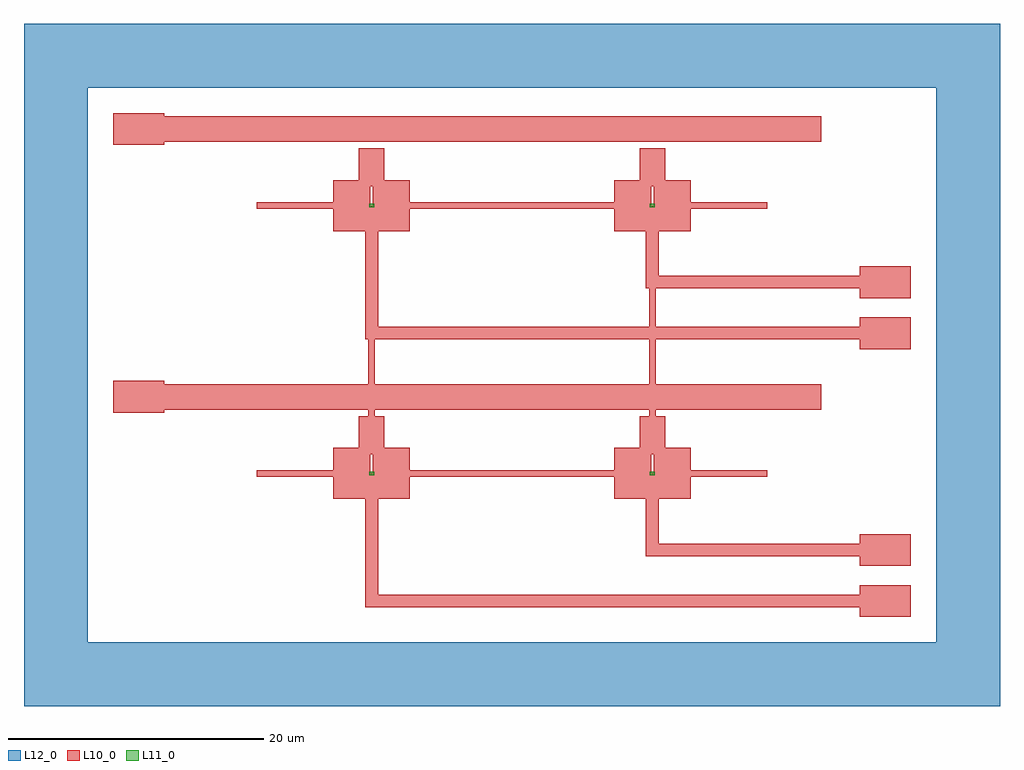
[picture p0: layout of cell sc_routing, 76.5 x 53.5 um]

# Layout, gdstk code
import gdstk
lib = gdstk.Library(unit=1e-6, precision=1e-09)
def R(c, l, rs):  # rectangles x0, y0, x1, y1
    for r in rs: c.add(gdstk.rectangle(r[:2], r[2:], *l))
L10_0 = (10, 0)
L11_0 = (11, 0)
L12_0 = (12, 0)

sc_routing = lib.new_cell('sc_routing')
R(sc_routing, L10_0, [(27.25,-21.75,31.25,-19.25), (27.25,-17.75,31.25,-15.25), (-14,-12.5,-11.1,-8.5), (-10.9,-12.5,-8,-8.5), (8,-12.5,10.9,-8.5), (11.1,-12.5,14,-8.5), (-2.5,-10.75,2.5,-10.25), (-12,-9,-10,-6), (-11.25,-9,-10.75,9), (10,-9,12,-6), (10.75,-9,11.25,9), (-31.25,-5.75,-27.25,-3.25), (27.25,-0.75,31.25,1.75), (27.25,3.25,31.25,5.75), (-14,8.5,-11.1,12.5), (-10.9,8.5,-8,12.5), (8,8.5,10.9,12.5), (11.1,8.5,14,12.5), (-2.5,10.25,2.5,10.75), (-12,12,-10,15), (10,12,12,15), (-31.25,15.25,-27.25,17.75)])
R(sc_routing, L11_0, [(-11.2,-10.65,-10.8,-10.35), (10.8,-10.65,11.2,-10.35), (-11.2,10.35,-10.8,10.65), (10.8,10.35,11.2,10.65)])
R(sc_routing, L12_0, [(-38.25,-28.75,38.25,-23.75), (-38.25,-28.75,-33.25,24.75), (33.25,-28.75,38.25,24.75), (-38.25,19.75,38.25,24.75)])
sc_routing.add(gdstk.FlexPath([(-14,-10.5),(-20,-10.5)], 0.5, ends="flush", simple_path=True, layer=10, datatype=0))  # L10_0
sc_routing.add(gdstk.FlexPath([(-8,-10.5),(-2,-10.5)], 0.5, ends="flush", simple_path=True, layer=10, datatype=0))  # L10_0
sc_routing.add(gdstk.FlexPath([(8,-10.5),(2,-10.5)], 0.5, ends="flush", simple_path=True, layer=10, datatype=0))  # L10_0
sc_routing.add(gdstk.FlexPath([(14,-10.5),(20,-10.5)], 0.5, ends="flush", simple_path=True, layer=10, datatype=0))  # L10_0
sc_routing.add(gdstk.FlexPath([(-14,10.5),(-20,10.5)], 0.5, ends="flush", simple_path=True, layer=10, datatype=0))  # L10_0
sc_routing.add(gdstk.FlexPath([(-8,10.5),(-2,10.5)], 0.5, ends="flush", simple_path=True, layer=10, datatype=0))  # L10_0
sc_routing.add(gdstk.FlexPath([(8,10.5),(2,10.5)], 0.5, ends="flush", simple_path=True, layer=10, datatype=0))  # L10_0
sc_routing.add(gdstk.FlexPath([(14,10.5),(20,10.5)], 0.5, ends="flush", simple_path=True, layer=10, datatype=0))  # L10_0
sc_routing.add(gdstk.FlexPath([(-29.25,-4.5),(-24.25,-4.5),(24.25,-4.5)], 2, ends="flush", simple_path=True, layer=10, datatype=0))  # L10_0
sc_routing.add(gdstk.FlexPath([(-29.25,16.5),(-24.25,16.5),(24.25,16.5)], 2, ends="flush", simple_path=True, layer=10, datatype=0))  # L10_0
sc_routing.add(gdstk.FlexPath([(-11,-10.5),(-11,-20.5),(29.25,-20.5)], 1, ends="flush", simple_path=True, layer=10, datatype=0))  # L10_0
sc_routing.add(gdstk.FlexPath([(11,-10.5),(11,-16.5),(29.25,-16.5)], 1, ends="flush", simple_path=True, layer=10, datatype=0))  # L10_0
sc_routing.add(gdstk.FlexPath([(-11,10.5),(-11,0.5),(29.25,0.5)], 1, ends="flush", simple_path=True, layer=10, datatype=0))  # L10_0
sc_routing.add(gdstk.FlexPath([(11,10.5),(11,4.5),(29.25,4.5)], 1, ends="flush", simple_path=True, layer=10, datatype=0))  # L10_0

lib.write_gds('sc_routing.gds')
